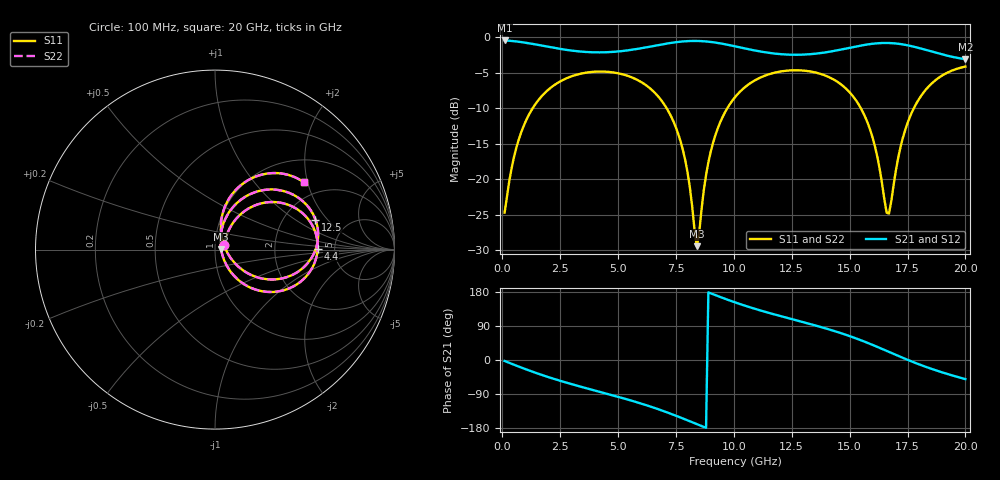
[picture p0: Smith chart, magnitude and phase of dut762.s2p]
! Touchstone file exported from HFSS 2026.1.0
!  File:  C:/ffzhzh/LocalFiles/Ansys_Project_Files/temp_train_TSV_RDL_762_1783259975_5512.aedt
!  Generated:  10:14:50 PM Jul  5, 2026
!  Design:  TSV_RDL
!  Project:  temp_train_TSV_RDL_762_1783259975_5512
! Variables:
!  h_bsmrdl = 3.85um
!  h_ox = 20um
!  h_rdl = 5um
!  h_sub = 90.47um
!  h_tmrdl = 2.21um
!  h_tsv = 90.47um
!  h_via = 3um
!  l_bsmrdl = 827.89um
!  l_sub = 6331.32um
!  l_tmrdl = 831.5um
!  m_sub = 200um
!  pitch = 55.7um
!  r_tsv = 14.8um
!  s_tmrdl = 10um
!  w_bsmrdl = 28.79um
!  w_sub = 500um
!  w_tmrdl = 11.76um
!  x_tsv_center1 = 837.38um
!  x_tsv_center2 = 1694.06um
!  x_tsv_center3 = 2537.32um
!  x_tsv_center4 = 3394um
!  x_tsv_center5 = 4237.26um
!  x_tsv_center6 = 5093.94um
# GHz S MA R 50.000000
! Terminal data exported
! Port[1] = TM_RDL1_1_T1
! Port[2] = TM_RDL5_1_T1
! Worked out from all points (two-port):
!   200 points, 100 MHz to 20 GHz, reference 50 ohm
!   highest |S21| = -0.46 dB at 100 MHz (marker M1); lowest = -3.1 dB at 20 GHz (marker M2)
!   |S21| within 3 dB of the highest: start of sweep to end of sweep
!   lowest |S11| = -29.4 dB at 8.4 GHz (marker M3), VSWR 1.07, Z = 53.5 + j0.286 ohm
!   |S11| at or under -10 dB: start of sweep to 1.315 GHz; 7.096 GHz to 9.72 GHz (2.624 GHz wide, 31.2 % of centre); 15.48 GHz to 17.78 GHz (2.293 GHz wide, 13.8 % of centre)
!   |S22| runs from -29.3 to -4.1 dB; largest |S21 - S12| = 1.7e-14
!   S11 on the Smith chart (normalised r, x): 100 MHz: 1.11, +0.06; 4.4 GHz: 3.67, +0.06; 12.5 GHz: 2.97, +1.51; 20 GHz: 1.56, +1.90
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0.1  0.05814 25.8  0.9484 -2.5  0.9484 -2.5  0.05814 25.8
! Gamma 0 0 0 0
! Port Impedance 50 0 50 0
0.6  0.1648 56.0  0.9335 -14.8  0.9335 -14.8  0.1648 56.0
1.2  0.2941 50.9  0.903 -28.6  0.903 -28.6  0.2941 50.9
3.5  0.5581 14.3  0.7893 -72.3  0.7893 -72.3  0.5581 14.3
4.4  0.5721 0.6  0.7827 -87.2  0.7827 -87.2  0.5721 0.6
6.8  0.371 -39.4  0.8837 -131.2  0.8837 -131.2  0.3709 -39.3
7.8  0.1604 -54.7  0.9333 -154.3  0.9333 -154.3  0.1604 -54.5
8.1  0.08762 -51.3  0.9399 -161.7  0.9399 -161.7  0.08771 -51.1
8.4  0.03371 4.5  0.9409 -169.1  0.9409 -169.1  0.03414 4.7
8.8  0.1071 71.0  0.9333 -179.1  0.9333 -179.1  0.1073 70.8
9.1  0.1798 71.5  0.9214 173.6  0.9214 173.6  0.18 71.4
10.1  0.3862 55.5  0.859 151.0  0.859 151.0  0.3863 55.5
12.5  0.5842 16.6  0.7524 108.0  0.7524 108.0  0.5843 16.5
13.4  0.5697 3.1  0.7616 93.2  0.7616 93.2  0.5698 3.0
15.5  0.3127 -31.2  0.8738 51.9  0.8738 51.9  0.3127 -31.3
16.1  0.1687 -36.2  0.9028 37.1  0.9028 37.1  0.1686 -36.4
16.6  0.05806 5.6  0.9107 24.1  0.9107 24.1  0.05751 5.3
16.7  0.05716 32.8  0.9099 21.4  0.9099 21.4  0.05653 32.8
17.2  0.1686 77.8  0.8946 8.3  0.8946 8.3  0.1683 78.0
17.8  0.3222 72.9  0.8551 -6.8  0.8551 -6.8  0.322 73.0
18.8  0.511 55.9  0.7716 -28.8  0.7716 -28.8  0.5108 55.9
20  0.6208 37.1  0.7003 -50.5  0.7003 -50.5  0.6207 37.1
